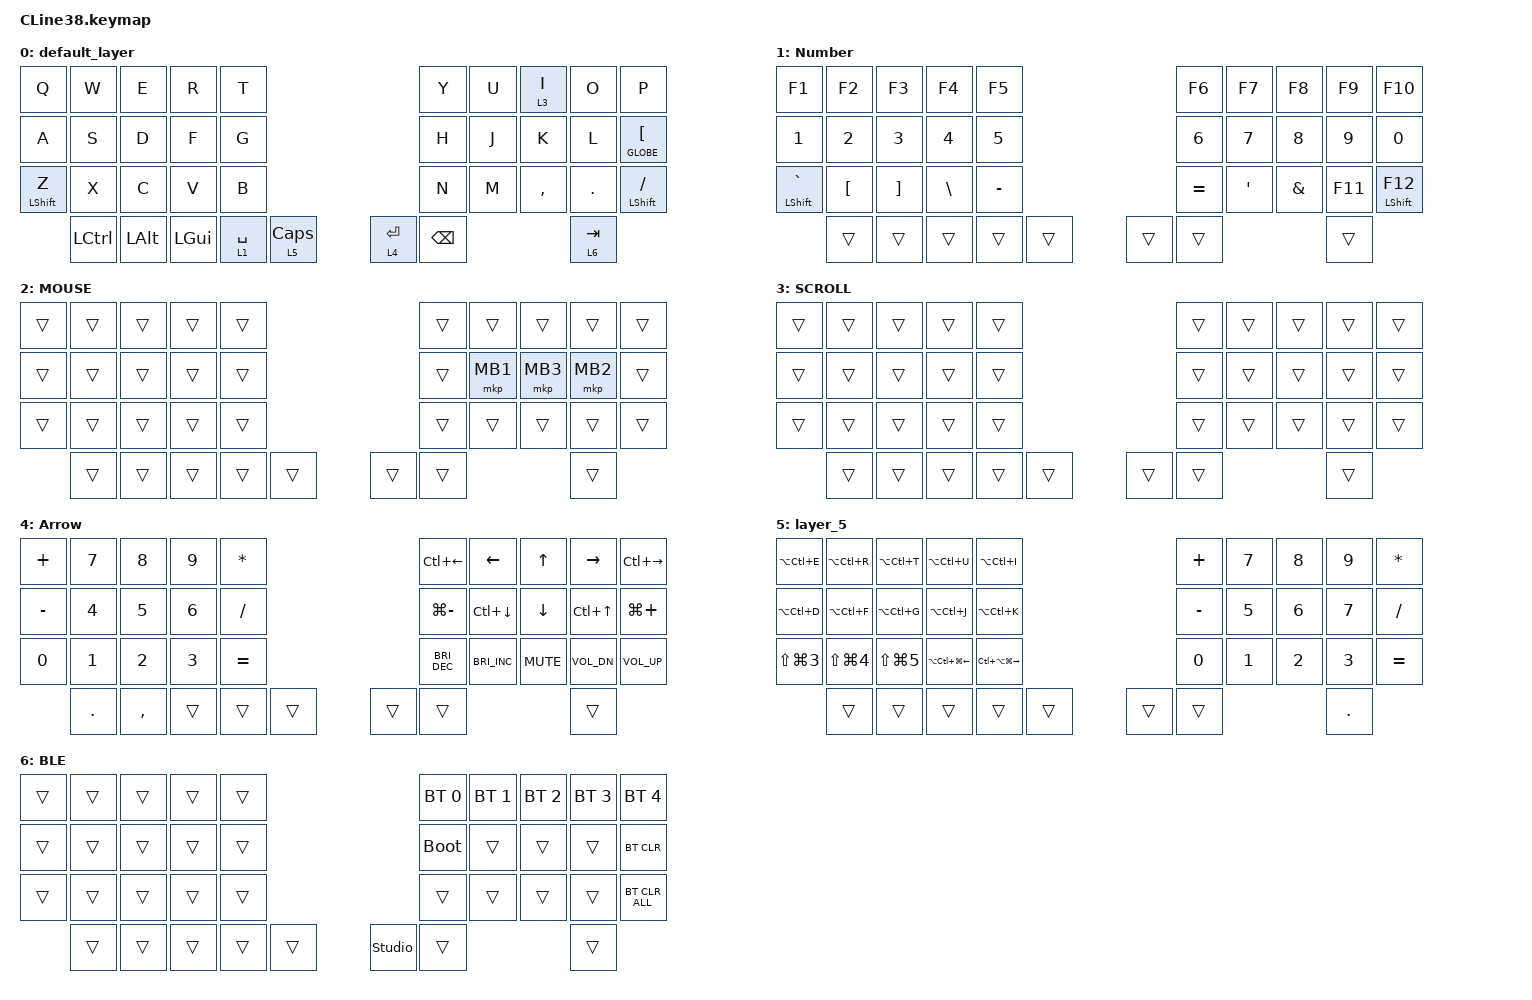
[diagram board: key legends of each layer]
#include <input/processors.dtsi>
#include <dt-bindings/zmk/input_transform.h>
#include <zephyr/dt-bindings/input/input-event-codes.h>
#include <behaviors.dtsi>
#include <dt-bindings/zmk/bt.h>
#include <dt-bindings/zmk/keys.h>
#include <dt-bindings/zmk/pointing.h>

&mt {
    flavor = "balanced";
    quick-tap-ms = <0>;
};

/ {
    combos {
        compatible = "zmk,combos";

        tab {
            bindings = <&kp TAB>;
            key-positions = <1 2>;
        };

        esc {
            bindings = <&kp ESC>;
            key-positions = <0 1>;
        };

        CHAR+ {
            bindings = <&kp LG(RIGHT)>;
            key-positions = <9 8>;
        };

        BACK {
            bindings = <&kp LG(LEFT)>;
            key-positions = <7 8>;
        };

        TabFwd {
            bindings = <&kp LC(TAB)>;
            key-positions = <18 19>;
        };

        TabBack {
            bindings = <&kp LS(LC(TAB))>;
            key-positions = <17 18>;
        };
    };

    macros {
        to_layer_0: to_layer_0 {
            compatible = "zmk,behavior-macro-one-param";
            #binding-cells = <1>;
            bindings = <&to 0 &macro_param_1to1 &kp MACRO_PLACEHOLDER>;
            label = "TO_LAYER_0";
        };
    };

    behaviors {
        lt_to_layer_0: lt_to_layer_0 {
            compatible = "zmk,behavior-hold-tap";
            label = "LAYER_TAP_TO_0";
            bindings = <&mo>, <&to_layer_0>;

            #binding-cells = <2>;
            tapping-term-ms = <200>;
        };
    };

    keymap {
        compatible = "zmk,keymap";

        default_layer {
            bindings = <
&kp Q             &kp W             &kp E     &kp R         &kp T                                     &kp Y     &kp U  &lt 3 I    &kp O      &kp P
&kp A             &kp S             &kp D     &kp F         &kp G                                     &kp H     &kp J  &kp K      &kp L      &mt GLOBE LEFT_BRACKET
&mt LEFT_SHIFT Z  &kp X             &kp C     &kp V         &kp B                                     &kp N     &kp M  &kp COMMA  &kp DOT    &mt LEFT_SHIFT SLASH
                  &kp LEFT_CONTROL  &kp LALT  &kp LEFT_GUI  &lt 1 SPACE  &lt 5 CAPSLOCK    &lt 4 RET  &kp BSPC                    &lt 6 TAB
            >;
        };

        Number {
            bindings = <
&kp F1                &kp F2    &kp F3    &kp F4    &kp F5                       &kp F6     &kp F7    &kp F8         &kp F9   &kp F10
&kp N1                &kp N2    &kp N3    &kp N4    &kp N5                       &kp N6     &kp N7    &kp N8         &kp N9   &kp N0
&mt LEFT_SHIFT GRAVE  &kp LBKT  &kp RBKT  &kp BSLH  &kp MINUS                    &kp EQUAL  &kp APOS  &kp AMPERSAND  &kp F11  &mt LEFT_SHIFT F12
                      &trans    &trans    &trans    &trans     &trans    &trans  &trans                              &trans
            >;

            label = "Number";
        };

        MOUSE {
            bindings = <
&trans  &trans  &trans  &trans  &trans                    &trans  &trans    &trans    &trans    &trans
&trans  &trans  &trans  &trans  &trans                    &trans  &mkp MB1  &mkp MB3  &mkp MB2  &trans
&trans  &trans  &trans  &trans  &trans                    &trans  &trans    &trans    &trans    &trans
        &trans  &trans  &trans  &trans  &trans    &trans  &trans                      &trans
            >;
        };

        SCROLL {
            bindings = <
&trans  &trans  &trans  &trans  &trans                    &trans  &trans  &trans  &trans  &trans
&trans  &trans  &trans  &trans  &trans                    &trans  &trans  &trans  &trans  &trans
&trans  &trans  &trans  &trans  &trans                    &trans  &trans  &trans  &trans  &trans
        &trans  &trans  &trans  &trans  &trans    &trans  &trans                  &trans
            >;
        };

        ARROW {
            bindings = <
&kp PLUS   &kp N7   &kp N8     &kp N9  &kp ASTERISK                    &kp LC(LEFT)          &kp LEFT              &kp UP_ARROW    &kp RIGHT         &kp LC(RIGHT)
&kp MINUS  &kp N4   &kp N5     &kp N6  &kp FSLH                        &kp LG(MINUS)         &kp LC(DOWN_ARROW)    &kp DOWN_ARROW  &kp LC(UP_ARROW)  &kp LG(PLUS)
&kp N0     &kp N1   &kp N2     &kp N3  &kp EQUAL                       &kp C_BRIGHTNESS_DEC  &kp C_BRIGHTNESS_INC  &kp K_MUTE      &kp C_VOL_DN      &kp C_VOLUME_UP
           &kp DOT  &kp COMMA  &trans  &trans        &trans    &trans  &trans                                                      &trans
            >;

            label = "Arrow";
        };

        layer_5 {
            bindings = <
&kp LA(LC(E))         &kp LA(LC(R))         &kp LA(LC(T))   &kp LA(LC(U))               &kp LA(LC(I))                            &kp PLUS   &kp N7  &kp N8  &kp N9      &kp ASTERISK
&kp LA(LC(D))         &kp LA(LC(F))         &kp LA(LC(G))   &kp LA(LC(J))               &kp LA(LC(K))                            &kp MINUS  &kp N5  &kp N6  &kp N7      &kp FSLH
&kp LS(LG(NUMBER_3))  &kp LS(LG(NUMBER_4))  &kp LS(LG(N5))  &kp LA(LC(LG(LEFT_ARROW)))  &kp LC(LA(LG(RIGHT)))                    &kp N0     &kp N1  &kp N2  &kp N3      &kp EQUAL
                      &trans                &trans          &trans                      &trans                 &trans    &trans  &trans                     &kp PERIOD
            >;
        };

        BLE {
            bindings = <
&trans  &trans  &trans  &trans  &trans                            &bt BT_SEL 0  &bt BT_SEL 1  &bt BT_SEL 2  &bt BT_SEL 3  &bt BT_SEL 4
&trans  &trans  &trans  &trans  &trans                            &bootloader   &trans        &trans        &trans        &bt BT_CLR
&trans  &trans  &trans  &trans  &trans                            &trans        &trans        &trans        &trans        &bt BT_CLR_ALL
        &trans  &trans  &trans  &trans  &trans    &studio_unlock  &trans                                    &trans
            >;

            label = "BLE";
        };
    };
};
